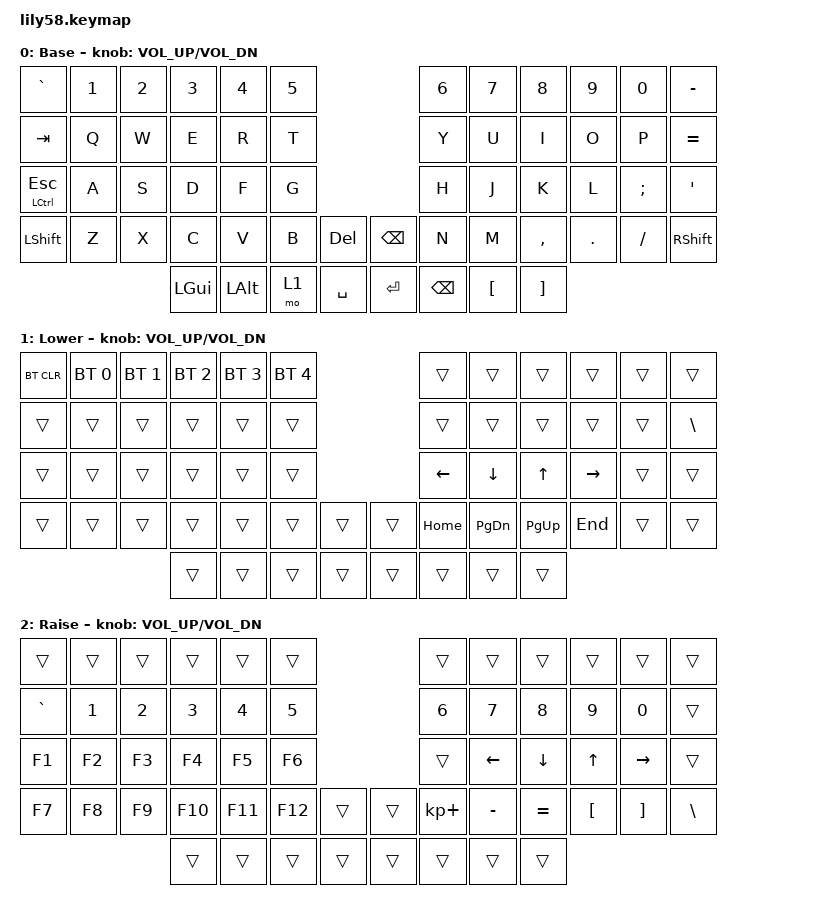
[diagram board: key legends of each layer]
/*
 * Copyright (c) 2020 The ZMK Contributors
 *
 * SPDX-License-Identifier: MIT
 */

#include <behaviors.dtsi>
#include <dt-bindings/zmk/bt.h>
#include <dt-bindings/zmk/keys.h>

/ {
    keymap {
        compatible = "zmk,keymap";

        default_layer {
            // ------------------------------------------------------------------------------------------------------------
            // |  ESC  |  1  |  2  |  3   |  4   |  5   |                   |  6   |  7    |  8    |  9   |   0   |   `   |
            // |  TAB  |  Q  |  W  |  E   |  R   |  T   |                   |  Y   |  U    |  I    |  O   |   P   |   -   |
            // |  CTRL |  A  |  S  |  D   |  F   |  G   |                   |  H   |  J    |  K    |  L   |   ;   |   '   |
            // | SHIFT |  Z  |  X  |  C   |  V   |  B   |   "["  |  |  "]"  |  N   |  M    |  ,    |  .   |   /   | SHIFT |
            //                     | ALT  | GUI  | LOWER|  SPACE |  | ENTER | RAISE| BSPC  | GUI   |

            display-name = "Base";
            bindings = <
&kp GRAVE         &kp N1  &kp N2  &kp N3        &kp N4        &kp N5                               &kp N6         &kp N7            &kp N8             &kp N9   &kp N0    &kp MINUS
&kp TAB           &kp Q   &kp W   &kp E         &kp R         &kp T                                &kp Y          &kp U             &kp I              &kp O    &kp P     &kp EQUAL
&mt LCTRL ESCAPE  &kp A   &kp S   &kp D         &kp F         &kp G                                &kp H          &kp J             &kp K              &kp L    &kp SEMI  &kp SQT
&kp LSHFT         &kp Z   &kp X   &kp C         &kp V         &kp B   &kp DELETE    &kp BACKSPACE  &kp N          &kp M             &kp COMMA          &kp DOT  &kp FSLH  &kp RSHFT
                                  &kp LEFT_GUI  &kp LEFT_ALT  &mo 1   &kp SPACE     &kp RET        &kp BACKSPACE  &kp LEFT_BRACKET  &kp RIGHT_BRACKET
            >;

            sensor-bindings = <&inc_dec_kp C_VOL_UP C_VOL_DN>;
        };

        lower_layer {
            // ------------------------------------------------------------------------------------------------------------
            // | BTCLR | BT1 | BT2 |  BT3 |  BT4 |  BT5 |                   |      |       |       |      |       |       |
            // |  F1   |  F2 |  F3 |  F4  |  F5  |  F6  |                   |  F7  |  F8   |  F9   |  F10 |  F11  |  F12  |
            // |   `   |  !  |  @  |  #   |  $   |  %   |                   |  ^   |  &    |  *    |  (   |   )   |   ~   |
            // |       |     |     |      |      |      |        |  |       |      |  _    |  +    |  {   |   }   |  "|"  |
            //                     |      |      |      |        |  |       |      |       |       |

            display-name = "Lower";
            bindings = <
&bt BT_CLR  &bt BT_SEL 0  &bt BT_SEL 1  &bt BT_SEL 2  &bt BT_SEL 3  &bt BT_SEL 4                    &trans          &trans          &trans        &trans     &trans  &trans
&trans      &trans        &trans        &trans        &trans        &trans                          &trans          &trans          &trans        &trans     &trans  &kp BACKSLASH
&trans      &trans        &trans        &trans        &trans        &trans                          &kp LEFT_ARROW  &kp DOWN_ARROW  &kp UP_ARROW  &kp RIGHT  &trans  &trans
&trans      &trans        &trans        &trans        &trans        &trans        &trans    &trans  &kp HOME        &kp PAGE_DOWN   &kp PAGE_UP   &kp END    &trans  &trans
                                        &trans        &trans        &trans        &trans    &trans  &trans          &trans          &trans
            >;

            sensor-bindings = <&inc_dec_kp C_VOL_UP C_VOL_DN>;
        };

        raise_layer {
            // ------------------------------------------------------------------------------------------------------------
            // |       |     |     |      |      |      |                   |      |       |       |      |       |       |
            // |   `   |  1  |  2  |  3   |  4   |  5   |                   |  6   |   7   |   8   |  9   |   0   |       |
            // |   F1  |  F2 |  F3 |  F4  |  F5  |  F6  |                   |      |   <-  |   v   |  ^   |  ->   |       |
            // |   F7  |  F8 |  F9 |  F10 |  F11 |  F12 |        |  |       |  +   |   -   |   =   |  [   |   ]   |   \   |
            //                     |      |      |      |        |  |       |      |       |       |

            display-name = "Raise";
            bindings = <
&trans     &trans  &trans  &trans   &trans   &trans                     &trans       &trans     &trans     &trans    &trans     &trans
&kp GRAVE  &kp N1  &kp N2  &kp N3   &kp N4   &kp N5                     &kp N6       &kp N7     &kp N8     &kp N9    &kp N0     &trans
&kp F1     &kp F2  &kp F3  &kp F4   &kp F5   &kp F6                     &trans       &kp LEFT   &kp DOWN   &kp UP    &kp RIGHT  &trans
&kp F7     &kp F8  &kp F9  &kp F10  &kp F11  &kp F12  &trans    &trans  &kp KP_PLUS  &kp MINUS  &kp EQUAL  &kp LBKT  &kp RBKT   &kp BSLH
                           &trans   &trans   &trans   &trans    &trans  &trans       &trans     &trans
            >;

            sensor-bindings = <&inc_dec_kp C_VOL_UP C_VOL_DN>;
        };

        extra_1 { status = "reserved"; };

        extra_2 { status = "reserved"; };

        extra_3 { status = "reserved"; };
    };
};
